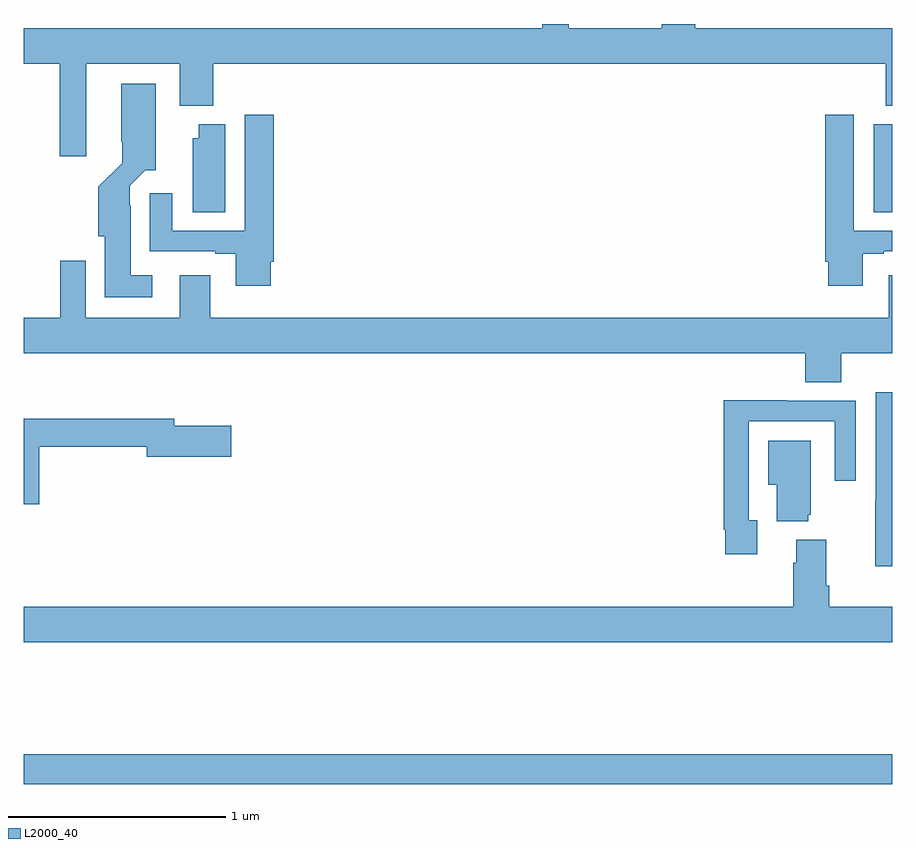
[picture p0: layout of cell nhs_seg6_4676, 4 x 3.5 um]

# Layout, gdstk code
import gdstk
lib = gdstk.Library(unit=1e-6, precision=1e-09)
def R(c, l, rs):  # rectangles x0, y0, x1, y1
    for r in rs: c.add(gdstk.rectangle(r[:2], r[2:], *l))
def P(c, l, *ps):  # polygons
    for p in ps: c.add(gdstk.Polygon(p, *l))
L2000_40 = (2000, 40)

nhs_seg6_4676 = lib.new_cell('nhs_seg6_4676')
R(nhs_seg6_4676, L2000_40, [(387,964,391,964.136), (390.914,966.634,391,967.039)])
P(nhs_seg6_4676, L2000_40, [(387.289,967.316),(387.719,967.316),(387.719,967.124),(387.872,967.124),(387.872,967.316),(390.971,967.316),(390.971,967.124),(391,967.124),(391,967.48),(390.092,967.48),(390.092,967.5),(389.939,967.5),(389.939,967.48),(389.509,967.48),(389.509,967.5),(389.387,967.5),(389.387,967.48),(387,967.48),(387,967.316),(387.167,967.316),(387.167,966.891),(387.289,966.891)],
  [(387.592,966.343),(387.493,966.343),(387.493,966.662),(387.489,966.662),(387.489,966.756),(387.559,966.826),(387.607,966.826),(387.607,967.225),(387.449,967.225),(387.449,966.958),(387.453,966.958),(387.453,966.859),(387.344,966.75),(387.344,966.522),(387.374,966.522),(387.374,966.242),(387.592,966.242)],
  [(388.138,966.406),(388.151,966.406),(388.151,967.081),(388.019,967.081),(388.019,966.549),(387.685,966.549),(387.685,966.721),(387.581,966.721),(387.581,966.453),(387.881,966.453),(387.881,966.441),(387.977,966.441),(387.977,966.294),(388.138,966.294)],
  [(390.865,966.441),(390.961,966.441),(390.961,966.453),(391,966.453),(391,966.549),(390.823,966.549),(390.823,967.081),(390.692,967.081),(390.692,966.406),(390.704,966.406),(390.704,966.294),(390.865,966.294)],
  [(387.928,967.039),(387.806,967.039),(387.806,966.975),(387.779,966.975),(387.779,966.634),(387.928,966.634)],
  [(390.764,965.984),(391,965.984),(391,966.343),(390.983,966.343),(390.983,966.148),(387.859,966.148),(387.859,966.343),(387.719,966.343),(387.719,966.148),(387.285,966.148),(387.285,966.409),(387.169,966.409),(387.169,966.148),(387,966.148),(387,965.984),(390.599,965.984),(390.599,965.851),(390.764,965.851)],
  [(391,965.803),(390.924,965.803),(390.924,965.309),(390.922,965.309),(390.922,965.003),(391,965.003)],
  [(390.379,965.214),(390.339,965.214),(390.339,965.67),(390.735,965.67),(390.735,965.397),(390.831,965.397),(390.831,965.766),(390.515,965.766),(390.515,965.768),(390.223,965.768),(390.223,965.17),(390.231,965.17),(390.231,965.058),(390.379,965.058)],
  [(387.071,965.554),(387.566,965.554),(387.566,965.507),(387.955,965.507),(387.955,965.649),(387.694,965.649),(387.694,965.683),(387,965.683),(387,965.289),(387.071,965.289)],
  [(390.614,965.241),(390.625,965.241),(390.625,965.581),(390.428,965.581),(390.428,965.378),(390.467,965.378),(390.467,965.21),(390.614,965.21)],
  [(391,964.816),(390.71,964.816),(390.71,964.912),(390.697,964.912),(390.697,965.125),(390.557,965.125),(390.557,965.018),(390.545,965.018),(390.545,964.816),(387,964.816),(387,964.652),(391,964.652)])

lib.write_gds('nhs_seg6_4676.gds')
